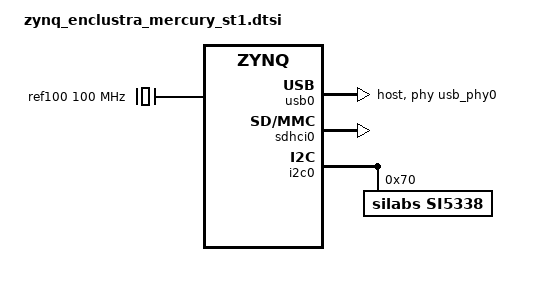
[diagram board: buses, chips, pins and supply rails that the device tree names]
#include <dt-bindings/clock/clk-si5338.h>

/ {
	usb_phy0: phy0 {
		compatible = "ulpi-phy";
		#phy-cells = <0>;
		reg = <0xe0002000 0x1000>;
		view-port = <0x0170>;
		drv-vbus;
	};
};

&usb0 {
	status = "okay";
	dr_mode = "host";
	usb-phy = <&usb_phy0>;
};

&sdhci0 {
        u-boot,dm-pre-reloc;
        status = "okay";
        disable-wp;
};

&amba {
	ref100: ref100M {
		compatible = "fixed-clock";
		#clock-cells = <0>;
		clock-frequency = <100000000>;
	};
};

&i2c0 {
	si5338@70 {
		compatible = "silabs,si5338";
		reg = <0x70>;
		#address-cells = <1>;
		#size-cells = <0>;
		#clock-cells = <1>;

		clocks = <0>, <0>, <&ref100>, <0>, <0>;
		clock-names = "xtal", "in12", "in3", "in4", "in56";

		silab,ref-source = <SI5338_REF_SRC_CLKIN3>;
		silab,fb-source = <SI5338_FB_SRC_NOCLK>;
		silab,pll-source = <SI5338_PFD_IN_REF_REFCLK>;

		/* output */
		clkout0 {
			reg = <0>;
			silabs,drive-config = "3V3_LVDS";
			silabs,clock-source = <SI5338_OUT_MUX_MSN>;
			silabs,disable-state = <SI5338_OUT_DIS_HIZ>;
			clock-frequency = <125000000>;
			/* enabled = "okay"; */
		};
		clkout1 {
			reg = <1>;
			silabs,drive-config = "3V3_LVDS";
			silabs,clock-source = <SI5338_OUT_MUX_MSN>;
			silabs,disable-state = <SI5338_OUT_DIS_HIZ>;
			clock-frequency = <125000000>;
			/* enabled = "okay"; */
		};
		clkout2 {
			reg = <2>;
			silabs,drive-config = "3V3_LVDS";
			silabs,clock-source = <SI5338_OUT_MUX_MSN>;
			silabs,disable-state = <SI5338_OUT_DIS_HIZ>;
			clock-frequency = <125000000>;
			/* enabled = "okay"; */
		};
		clkout3 {
			reg = <3>;
			silabs,drive-config = "3V3_LVDS";
			silabs,clock-source = <SI5338_OUT_MUX_MSN>;
			silabs,disable-state = <SI5338_OUT_DIS_HIZ>;
			clock-frequency = <125000000>;
			/* enabled = "okay"; */
		};
	};
};
